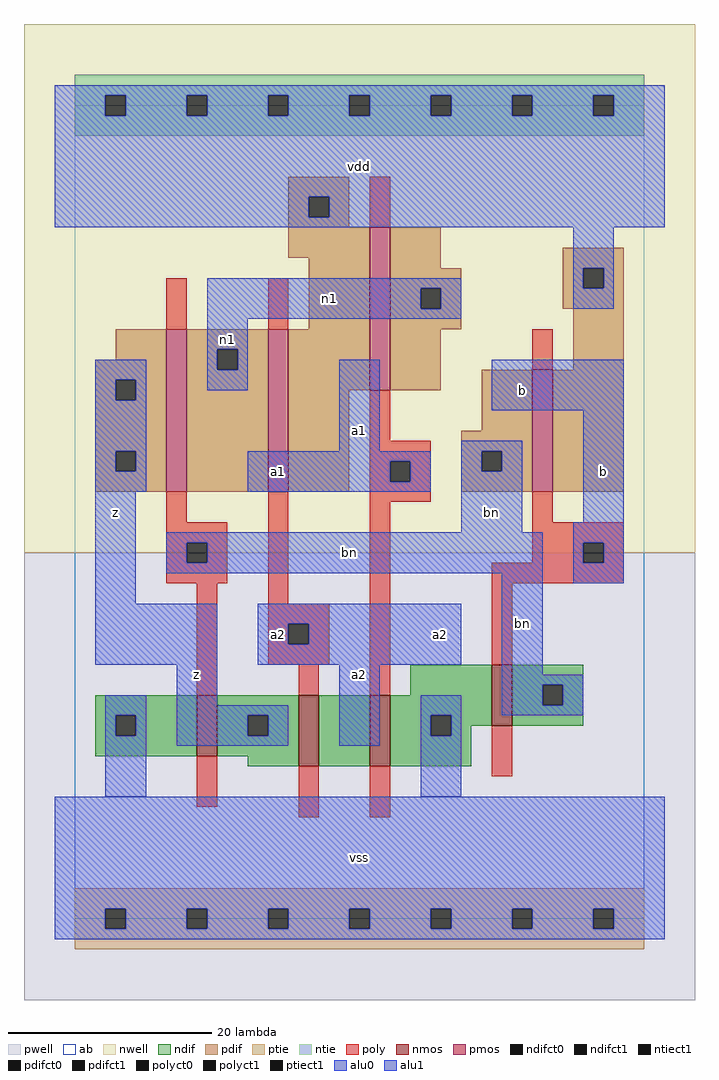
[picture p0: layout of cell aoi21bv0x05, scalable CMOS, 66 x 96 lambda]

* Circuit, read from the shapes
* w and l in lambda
.subckt aoi21bv0x05 a1 a2 b bn n1 vdd vss z
M1 z bn vss vss nfet w=6 l=2
M2 n2 a2 z vss nfet w=7 l=2
M3 vss a1 n2 vss nfet w=7 l=2
M4 bn b vss vss nfet w=6 l=2
M5 n1 bn z vdd pfet w=16 l=2
M6 vdd a2 n1 vdd pfet w=16 l=2
M7 n1 a1 vdd vdd pfet w=16 l=2
M8 vdd b bn vdd pfet w=12 l=2
.ends

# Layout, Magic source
magic
tech scmos
<< ab >>
rect 0 0 56 80
<< nwell >>
rect -5 36 61 88
<< pwell >>
rect -5 -8 61 36
<< poly >>
rect 29 68 31 73
rect 9 58 11 63
rect 19 58 21 63
rect 45 54 47 58
rect 29 47 31 52
rect 29 45 35 47
rect 29 43 31 45
rect 33 43 35 45
rect 9 39 11 42
rect 9 37 15 39
rect 9 35 11 37
rect 13 35 15 37
rect 9 33 15 35
rect 12 22 14 33
rect 19 31 21 42
rect 29 41 35 43
rect 19 29 25 31
rect 19 27 21 29
rect 23 27 25 29
rect 19 25 25 27
rect 22 22 24 25
rect 29 22 31 41
rect 45 39 47 42
rect 45 37 54 39
rect 45 35 50 37
rect 52 35 54 37
rect 41 33 54 35
rect 41 25 43 33
rect 12 11 14 16
rect 22 10 24 15
rect 29 10 31 15
rect 41 14 43 19
<< ndif >>
rect 33 22 41 25
rect 2 20 12 22
rect 2 18 4 20
rect 6 18 12 20
rect 2 16 12 18
rect 14 20 22 22
rect 14 18 17 20
rect 19 18 22 20
rect 14 16 22 18
rect 17 15 22 16
rect 24 15 29 22
rect 31 20 41 22
rect 31 18 35 20
rect 37 19 41 20
rect 43 23 50 25
rect 43 21 46 23
rect 48 21 50 23
rect 43 19 50 21
rect 37 18 39 19
rect 31 15 39 18
<< pdif >>
rect 21 71 27 73
rect 21 69 23 71
rect 25 69 27 71
rect 21 68 27 69
rect 21 65 29 68
rect 23 58 29 65
rect 4 55 9 58
rect 2 53 9 55
rect 2 51 4 53
rect 6 51 9 53
rect 2 46 9 51
rect 2 44 4 46
rect 6 44 9 46
rect 2 42 9 44
rect 11 56 19 58
rect 11 54 14 56
rect 16 54 19 56
rect 11 42 19 54
rect 21 52 29 58
rect 31 64 36 68
rect 48 64 54 66
rect 31 62 38 64
rect 31 60 34 62
rect 36 60 38 62
rect 48 62 50 64
rect 52 62 54 64
rect 48 60 54 62
rect 31 58 38 60
rect 31 52 36 58
rect 49 54 54 60
rect 21 42 27 52
rect 40 48 45 54
rect 38 46 45 48
rect 38 44 40 46
rect 42 44 45 46
rect 38 42 45 44
rect 47 42 54 54
<< alu1 >>
rect -2 81 58 82
rect -2 79 3 81
rect 5 79 11 81
rect 13 79 19 81
rect 21 79 27 81
rect 29 79 35 81
rect 37 79 43 81
rect 45 79 51 81
rect 53 79 58 81
rect -2 71 58 79
rect -2 69 23 71
rect 25 69 58 71
rect -2 68 58 69
rect 49 64 53 68
rect 49 62 50 64
rect 52 62 53 64
rect 49 60 53 62
rect 2 53 7 55
rect 2 51 4 53
rect 6 51 7 53
rect 2 46 7 51
rect 26 46 30 55
rect 41 50 54 55
rect 2 44 4 46
rect 6 44 7 46
rect 2 42 7 44
rect 17 45 35 46
rect 17 43 31 45
rect 33 43 35 45
rect 17 42 35 43
rect 2 31 6 42
rect 50 39 54 50
rect 2 25 14 31
rect 18 29 38 31
rect 18 27 21 29
rect 23 27 38 29
rect 18 25 38 27
rect 10 21 14 25
rect 10 20 21 21
rect 10 18 17 20
rect 19 18 21 20
rect 10 17 21 18
rect 26 17 30 25
rect 49 37 54 39
rect 49 35 50 37
rect 52 35 54 37
rect 49 33 54 35
rect -2 1 58 12
rect -2 -1 3 1
rect 5 -1 11 1
rect 13 -1 19 1
rect 21 -1 27 1
rect 29 -1 35 1
rect 37 -1 43 1
rect 45 -1 51 1
rect 53 -1 58 1
rect -2 -2 58 -1
<< ptie >>
rect 0 1 56 3
rect 0 -1 3 1
rect 5 -1 11 1
rect 13 -1 19 1
rect 21 -1 27 1
rect 29 -1 35 1
rect 37 -1 43 1
rect 45 -1 51 1
rect 53 -1 56 1
rect 0 -3 56 -1
<< ntie >>
rect 0 81 56 83
rect 0 79 3 81
rect 5 79 11 81
rect 13 79 19 81
rect 21 79 27 81
rect 29 79 35 81
rect 37 79 43 81
rect 45 79 51 81
rect 53 79 56 81
rect 0 77 56 79
<< nmos >>
rect 12 16 14 22
rect 22 15 24 22
rect 29 15 31 22
rect 41 19 43 25
<< pmos >>
rect 9 42 11 58
rect 19 42 21 58
rect 29 52 31 68
rect 45 42 47 54
<< polyct0 >>
rect 11 35 13 37
<< polyct1 >>
rect 31 43 33 45
rect 21 27 23 29
rect 50 35 52 37
<< ndifct0 >>
rect 4 18 6 20
rect 35 18 37 20
rect 46 21 48 23
<< ndifct1 >>
rect 17 18 19 20
<< ntiect1 >>
rect 3 79 5 81
rect 11 79 13 81
rect 19 79 21 81
rect 27 79 29 81
rect 35 79 37 81
rect 43 79 45 81
rect 51 79 53 81
<< ptiect1 >>
rect 3 -1 5 1
rect 11 -1 13 1
rect 19 -1 21 1
rect 27 -1 29 1
rect 35 -1 37 1
rect 43 -1 45 1
rect 51 -1 53 1
<< pdifct0 >>
rect 14 54 16 56
rect 34 60 36 62
rect 40 44 42 46
<< pdifct1 >>
rect 23 69 25 71
rect 4 51 6 53
rect 4 44 6 46
rect 50 62 52 64
<< alu0 >>
rect 13 62 38 63
rect 13 60 34 62
rect 36 60 38 62
rect 13 59 38 60
rect 13 56 17 59
rect 13 54 14 56
rect 16 54 17 56
rect 13 52 17 54
rect 38 46 44 47
rect 38 44 40 46
rect 42 44 44 46
rect 38 38 44 44
rect 9 37 46 38
rect 9 35 11 37
rect 13 35 46 37
rect 9 34 46 35
rect 3 20 7 22
rect 3 18 4 20
rect 6 18 7 20
rect 3 12 7 18
rect 42 24 46 34
rect 42 23 50 24
rect 34 20 38 22
rect 42 21 46 23
rect 48 21 50 23
rect 42 20 50 21
rect 34 18 35 20
rect 37 18 38 20
rect 34 12 38 18
<< labels >>
rlabel alu0 15 57 15 57 6 n1
rlabel alu0 25 61 25 61 6 n1
rlabel alu0 44 29 44 29 6 bn
rlabel alu0 27 36 27 36 6 bn
rlabel alu0 41 40 41 40 6 bn
rlabel alu1 4 40 4 40 6 z
rlabel alu1 12 24 12 24 6 z
rlabel alu1 20 28 20 28 6 a2
rlabel alu1 20 44 20 44 6 a1
rlabel alu1 28 6 28 6 6 vss
rlabel alu1 28 24 28 24 6 a2
rlabel alu1 36 28 36 28 6 a2
rlabel alu1 28 48 28 48 6 a1
rlabel alu1 28 74 28 74 6 vdd
rlabel alu1 52 44 52 44 6 b
rlabel alu1 44 52 44 52 6 b
<< end >>
